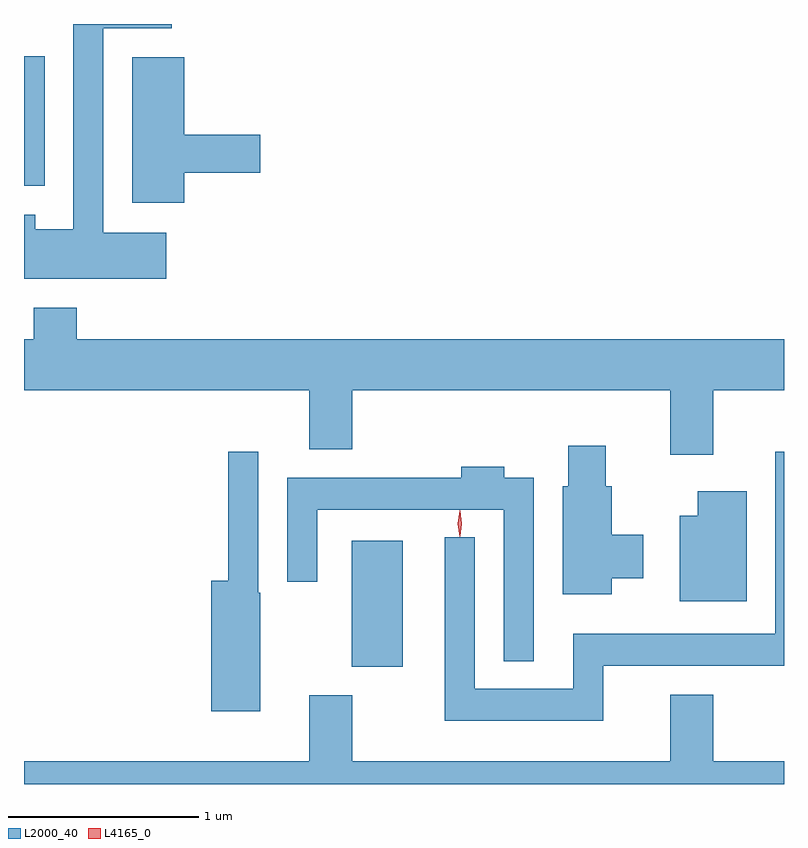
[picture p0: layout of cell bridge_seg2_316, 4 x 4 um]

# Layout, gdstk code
import gdstk
lib = gdstk.Library(unit=1e-6, precision=1e-09)
def R(c, l, rs):  # rectangles x0, y0, x1, y1
    for r in rs: c.add(gdstk.rectangle(r[:2], r[2:], *l))
def P(c, l, *ps):  # polygons
    for p in ps: c.add(gdstk.Polygon(p, *l))
L2000_40 = (2000, 40)
L4165_0 = (4165, 0)

bridge_seg2_316 = lib.new_cell('bridge_seg2_316')
R(bridge_seg2_316, L2000_40, [(428.386,1084.601,428.654,1085.264), (426.661,1087.131,426.769,1087.814)])
P(bridge_seg2_316, L2000_40, [(427.409,1086.884),(427.079,1086.884),(427.079,1087.961),(427.438,1087.961),(427.438,1087.983),(426.921,1087.983),(426.921,1086.904),(426.719,1086.904),(426.719,1086.979),(426.661,1086.979),(426.661,1086.641),(427.409,1086.641)],
  [(427.504,1087.201),(427.904,1087.201),(427.904,1087.399),(427.504,1087.399),(427.504,1087.809),(427.231,1087.809),(427.231,1087.041),(427.504,1087.041)],
  [(430.289,1086.056),(430.661,1086.056),(430.661,1086.324),(426.939,1086.324),(426.939,1086.489),(426.711,1086.489),(426.711,1086.324),(426.661,1086.324),(426.661,1086.056),(428.161,1086.056),(428.161,1085.746),(428.389,1085.746),(428.389,1086.056),(430.061,1086.056),(430.061,1085.716),(430.289,1085.716)],
  [(429.754,1085.066),(429.919,1085.066),(429.919,1085.294),(429.754,1085.294),(429.754,1085.549),(429.724,1085.549),(429.724,1085.764),(429.526,1085.764),(429.526,1085.549),(429.496,1085.549),(429.496,1084.981),(429.754,1084.981)],
  [(427.904,1084.99),(427.894,1084.99),(427.894,1085.733),(427.736,1085.733),(427.736,1085.054),(427.646,1085.054),(427.646,1084.366),(427.904,1084.366)],
  [(429.709,1084.606),(430.661,1084.606),(430.661,1085.733),(430.616,1085.733),(430.616,1084.774),(429.551,1084.774),(429.551,1084.484),(429.034,1084.484),(429.034,1085.283),(428.876,1085.283),(428.876,1084.316),(429.709,1084.316)],
  [(429.344,1085.594),(429.189,1085.594),(429.189,1085.654),(428.961,1085.654),(428.961,1085.594),(428.046,1085.594),(428.046,1085.048),(428.204,1085.048),(428.204,1085.426),(429.186,1085.426),(429.186,1084.628),(429.344,1084.628)],
  [(430.464,1085.524),(430.206,1085.524),(430.206,1085.394),(430.111,1085.394),(430.111,1084.946),(430.464,1084.946)],
  [(430.661,1084.104),(430.289,1084.104),(430.289,1084.454),(430.061,1084.454),(430.061,1084.104),(428.389,1084.104),(428.389,1084.449),(428.161,1084.449),(428.161,1084.104),(426.661,1084.104),(426.661,1083.983),(430.661,1083.983)])
P(bridge_seg2_316, L4165_0, [(428.954,1085.284),(428.945,1085.353),(428.954,1085.422),(428.955,1085.423),(428.955,1085.422),(428.965,1085.353),(428.955,1085.284),(428.955,1085.284)],
  [(428.954,1085.287),(428.945,1085.354),(428.954,1085.42),(428.955,1085.421),(428.956,1085.42),(428.965,1085.354),(428.956,1085.287),(428.955,1085.287)])

lib.write_gds('bridge_seg2_316.gds')
